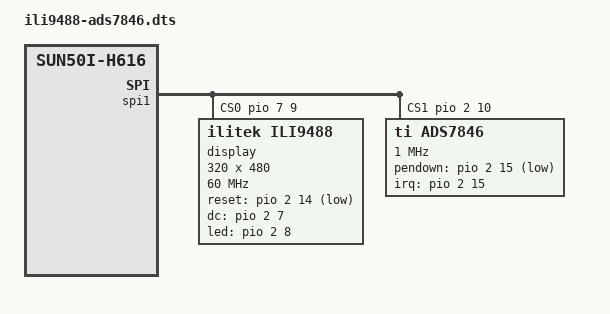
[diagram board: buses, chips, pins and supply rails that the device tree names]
/*
OrangePi Zero 3 -> ILI9488 LCD connections
T_IRQ = PC15
T_DO = PH8
T_DIN = LCD_SDI
T_CS = PC10
T_CLK = LCD_SCK

//SDO (LCD MISO) = PH8 (OPIZ MISO)
LED = PC8
SCK (SPI CLOCK) = PH6
SDI (LCD MOSI) = PH7 (OPIZ MOSI)
LCD DC (DATA/CONTROL) = PC7 *
LCD RESET = PC14
CS (CHIP SELECT) = PH9
GND = GND PIN 20
VCC = 3.3V
*/

/dts-v1/;
/plugin/;
/{
    compatible = "allwinner,sun50i-h616";

    fragment@0 {
        target = <&spi1>;
        __overlay__ {
            status="okay";
            pinctrl-names = "default";
            pinctrl-0 = <&spi1_pins>;
            cs-gpios = <&pio 7 9 0>,<&pio 2 10 0>;  /* PH9 chip select for lcd, PC10=CS1 fo touch */
            num-chipselects = <1>;
            display: display@0 {
                compatible = "ilitek,ili9488";
                reg = <0>;
                pinctrl-names = "default";
//                pinctrl-1 = <&display_pins>;
                spi-max-frequency = <60000000>;
                rotate = <270>; /* rotate for ili9341, rotation for yx240qv29 */
                bgr = <1>;
                fps = <30>;
                buswidth = <8>;
//                regwidth = <8>;
                height = <480>;
                width = <320>;
                reset-gpios = <&pio 2 14 1>; /* PC14 reset pin*/
                dc-gpios = <&pio 2 7 0>; /* PC7 Data control pin */
                led-gpios = <&pio 2 8 0>; /* PC8 Led control */
                debug = <3>;
                init = <0x10000b0 0x00
                        0x1000011  //sleep out
                        0x20000ff  //no idea
                        //0x100003a 0x55 //pixel format/ DBI=DPI=16bits
                        0x10000F7 0xA9 0x51 0x2C 0x82 //adjust control 3
                        0x10000C0 0x11 0x09 //power control 1
                        0x10000C1 0x41 //power control 2
                        0x10000C5 0x00 0x0A 0x80 //voltage common control
                        0x10000B1 0xB0 0x11 //frame rate control
                        0x10000B4 0x02 //display inversion control
                        0x10000B6 0x02 0x02 //display function control
                        0x10000B7 0xC6 //entry mode set
                        0x10000BE 0x00 0x04 //HS lanes control
                        0x10000E9 0x00 //set image function
                        0x1000036 0x28 //memory access control
                        0x10000E0 0x00 0x07 0x10 0x09 0x17 0x0B 0x41 0x89 0x4B 0x0A 0x0C 0x0E 0x18 0x1B 0x0F //PGAMCTR positive gamma control
                        0x10000E1 0x00 0x17 0x1A 0x04 0x0E 0x06 0x2F 0x45 0x43 0x02 0x0A 0x09 0x32 0x36 0x0F //NGAMCTRL negative gamma control
                        0x1000011 //sleep out command
                        0x1000029>; //display on
            };

            ads7846: ads7846@1 {
                compatible = "ti,ads7846";
                reg = <1>;
                pinctrl-names = "default";
                spi-max-frequency = <1000000>;
                interrupt-parent = <&pio>;
                interrupts = <2 15 2>; // PC15 - IRQ
                pendown-gpio = <&pio 2 15 1>; // PC15
                
                // OPTIONS
                ti,x-min = /bits/ 16 <290>;
                ti,y-min = /bits/ 16 <390>;
                ti,x-max = /bits/ 16 <3750>;
                ti,y-max = /bits/ 16 <3700>;
                ti,pressure-min = /bits/ 16 <0>;
                ti,pressure-max = /bits/ 16 <0xFFF>;
                ti,x-plate-ohms = /bits/ 16 <400>;
                ti,swap-xy = <1>;
                wakeup-source;
            };
        };
    };
};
